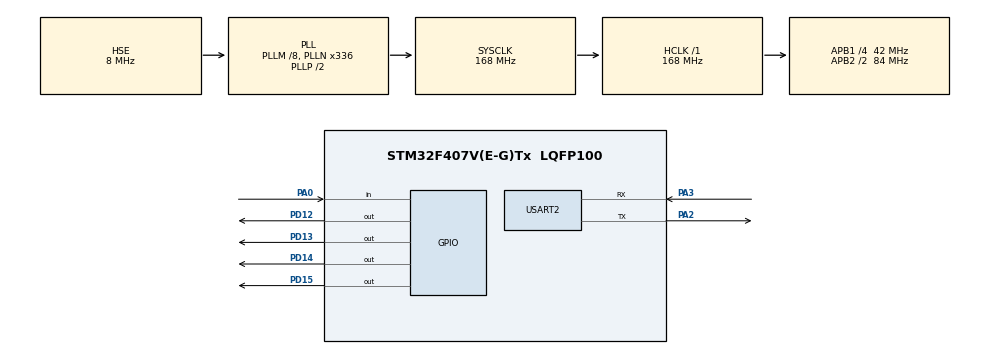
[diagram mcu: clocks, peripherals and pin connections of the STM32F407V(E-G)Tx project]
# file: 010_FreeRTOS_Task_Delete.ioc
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FREERTOS.Tasks01=defaultTask,24,128,StartDefaultTask,Default,NULL,Dynamic,NULL,NULL
FREERTOS.configUSE_NEWLIB_REENTRANT=1
Mcu.Family=STM32F4
Mcu.Name=STM32F407V(E-G)Tx
Mcu.Package=LQFP100
NVIC.PriorityGroup=NVIC_PRIORITYGROUP_4
NVIC.TIM8_TRG_COM_TIM14_IRQn=true\:15\:0\:false\:false\:true\:false\:false\:true\:true
NVIC.TimeBase=TIM8_TRG_COM_TIM14_IRQn
NVIC.TimeBaseIP=TIM14
PA0-WKUP.Signal=GPIO_Input
PA2.Mode=Asynchronous
PA2.Signal=USART2_TX
PA3.Mode=Asynchronous
PA3.Signal=USART2_RX
PD12.Signal=GPIO_Output
PD13.Signal=GPIO_Output
PD14.Signal=GPIO_Output
PD15.Signal=GPIO_Output
PH0-OSC_IN.Mode=HSE-External-Oscillator
PH0-OSC_IN.Signal=RCC_OSC_IN
PH1-OSC_OUT.Mode=HSE-External-Oscillator
PH1-OSC_OUT.Signal=RCC_OSC_OUT
ProjectManager.HeapSize=0x200
ProjectManager.StackSize=0x400
ProjectManager.TargetToolchain=STM32CubeIDE
RCC.48MHZClocksFreq_Value=48000000
RCC.AHBFreq_Value=168000000
RCC.APB1CLKDivider=RCC_HCLK_DIV4
RCC.APB1Freq_Value=42000000
RCC.APB1TimFreq_Value=84000000
RCC.APB2CLKDivider=RCC_HCLK_DIV2
RCC.APB2Freq_Value=84000000
RCC.APB2TimFreq_Value=168000000
RCC.CortexFreq_Value=168000000
RCC.HCLKFreq_Value=168000000
RCC.HSE_VALUE=8000000
RCC.HSI_VALUE=16000000
RCC.LSE_VALUE=32768
RCC.PLLM=8
RCC.PLLN=336
RCC.PLLQ=7
RCC.PLLSourceVirtual=RCC_PLLSOURCE_HSE
RCC.SYSCLKFreq_VALUE=168000000
RCC.SYSCLKSource=RCC_SYSCLKSOURCE_PLLCLK
RCC.VCOOutputFreq_Value=336000000
USART2.VirtualMode=VM_ASYNC
VP_FREERTOS_VS_CMSIS_V2.Mode=CMSIS_V2
VP_SYS_VS_tim14.Mode=TIM14
board=STM32F407G-DISC1

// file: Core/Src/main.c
/* USER CODE BEGIN Header */
/**
  ******************************************************************************
  * @file           : main.c
  * @brief          : Main program body
  ******************************************************************************
  * @attention
  *
  * Copyright (c) 2023 STMicroelectronics.
  * All rights reserved.
  *
  * This software is licensed under terms that can be found in the LICENSE file
  * in the root directory of this software component.
  * If no LICENSE file comes with this software, it is provided AS-IS.
  *
  ******************************************************************************
  */
/* USER CODE END Header */
#include "main.h"
//#include "cmsis_os.h"

/* USER CODE BEGIN Includes */
#include "FreeRTOS.h"
#include "task.h"
#include <stdio.h>
/* USER CODE END Includes */

UART_HandleTypeDef huart2;

/* Definitions for defaultTask */
//osThreadId_t defaultTaskHandle;
//const osThreadAttr_t defaultTask_attributes = {
//  .name = "defaultTask",
//  .stack_size = 128 * 4,
//  .priority = (osPriority_t) osPriorityNormal,
//};
/* USER CODE BEGIN PV */
volatile uint32_t ulIdleCycleCount = 0;
TaskHandle_t xTask2Handle = NULL;
/* USER CODE END PV */

void SystemClock_Config(void);
static void MX_GPIO_Init(void);
static void MX_USART2_UART_Init(void);
void StartDefaultTask(void *argument);

/* USER CODE BEGIN 0 */

void vTask2(void * pvParameters)
{
	for(;;)
	{
		HAL_UART_Transmit(&huart2, (uint8_t *)("Gorev 2 calisiyor\r\n"), 19, 0xFFFF);
		HAL_UART_Transmit(&huart2, (uint8_t *)("Gorev 2 kendini siliyor\r\n"), 30, 0xFFFF);
		vTaskDelete(xTask2Handle);
	}
}
void vTask1(void * pvParameters)
{
	for(;;)
	{
		HAL_UART_Transmit(&huart2, (uint8_t *)("Gorev 1 calisiyor"), 19, 0xFFFF);
		HAL_UART_Transmit(&huart2, (uint8_t *)("Gorev 2 olusturuluyor"), 30, 0xFFFF);
		xTaskCreate(vTask2, "Task 2", configMINIMAL_STACK_SIZE, NULL, 1, &xTask2Handle);
		vTaskDelay(pdMS_TO_TICKS(100UL));
	}
}

/* USER CODE END 0 */

int main(void)
{

  /* MCU Configuration--------------------------------------------------------*/

  /* Reset of all peripherals, Initializes the Flash interface and the Systick. */
  HAL_Init();

  /* Configure the system clock */
  SystemClock_Config();

  /* Initialize all configured peripherals */
  MX_GPIO_Init();
  MX_USART2_UART_Init();
  /* USER CODE BEGIN 2 */
  xTaskCreate(vTask1, "Task 1", configMINIMAL_STACK_SIZE, NULL, 1, NULL);

  vTaskStartScheduler();
  /* USER CODE END 2 */

  /* Init scheduler */
  //osKernelInitialize();

  /* Create the thread(s) */
  /* creation of defaultTask */
  //defaultTaskHandle = osThreadNew(StartDefaultTask, NULL, &defaultTask_attributes);

  /* Start scheduler */
  //osKernelStart();
  /* We should never get here as control is now taken by the scheduler */
  /* Infinite loop */
  while (1)
  {

  }
}

void SystemClock_Config(void)
{
  RCC_OscInitTypeDef RCC_OscInitStruct = {0};
  RCC_ClkInitTypeDef RCC_ClkInitStruct = {0};

  /** Configure the main internal regulator output voltage
  */
  __HAL_RCC_PWR_CLK_ENABLE();
  __HAL_PWR_VOLTAGESCALING_CONFIG(PWR_REGULATOR_VOLTAGE_SCALE1);

  /** Initializes the RCC Oscillators according to the specified parameters
  * in the RCC_OscInitTypeDef structure.
  */
  RCC_OscInitStruct.OscillatorType = RCC_OSCILLATORTYPE_HSE;
  RCC_OscInitStruct.HSEState = RCC_HSE_ON;
  RCC_OscInitStruct.PLL.PLLState = RCC_PLL_ON;
  RCC_OscInitStruct.PLL.PLLSource = RCC_PLLSOURCE_HSE;
  RCC_OscInitStruct.PLL.PLLM = 8;
  RCC_OscInitStruct.PLL.PLLN = 336;
  RCC_OscInitStruct.PLL.PLLP = RCC_PLLP_DIV2;
  RCC_OscInitStruct.PLL.PLLQ = 7;
  if (HAL_RCC_OscConfig(&RCC_OscInitStruct) != HAL_OK)
  {
    Error_Handler();
  }

  /** Initializes the CPU, AHB and APB buses clocks
  */
  RCC_ClkInitStruct.ClockType = RCC_CLOCKTYPE_HCLK|RCC_CLOCKTYPE_SYSCLK
                              |RCC_CLOCKTYPE_PCLK1|RCC_CLOCKTYPE_PCLK2;
  RCC_ClkInitStruct.SYSCLKSource = RCC_SYSCLKSOURCE_PLLCLK;
  RCC_ClkInitStruct.AHBCLKDivider = RCC_SYSCLK_DIV1;
  RCC_ClkInitStruct.APB1CLKDivider = RCC_HCLK_DIV4;
  RCC_ClkInitStruct.APB2CLKDivider = RCC_HCLK_DIV2;

  if (HAL_RCC_ClockConfig(&RCC_ClkInitStruct, FLASH_LATENCY_5) != HAL_OK)
  {
    Error_Handler();
  }
}

static void MX_USART2_UART_Init(void)
{

  huart2.Instance = USART2;
  huart2.Init.BaudRate = 115200;
  huart2.Init.WordLength = UART_WORDLENGTH_8B;
  huart2.Init.StopBits = UART_STOPBITS_1;
  huart2.Init.Parity = UART_PARITY_NONE;
  huart2.Init.Mode = UART_MODE_TX_RX;
  huart2.Init.HwFlowCtl = UART_HWCONTROL_NONE;
  huart2.Init.OverSampling = UART_OVERSAMPLING_16;
  if (HAL_UART_Init(&huart2) != HAL_OK)
  {
    Error_Handler();
  }

}

static void MX_GPIO_Init(void)
{
  GPIO_InitTypeDef GPIO_InitStruct = {0};

  /* GPIO Ports Clock Enable */
  __HAL_RCC_GPIOH_CLK_ENABLE();
  __HAL_RCC_GPIOA_CLK_ENABLE();
  __HAL_RCC_GPIOD_CLK_ENABLE();

  /*Configure GPIO pin Output Level */
  HAL_GPIO_WritePin(GPIOD, GPIO_PIN_12|GPIO_PIN_13|GPIO_PIN_14|GPIO_PIN_15, GPIO_PIN_RESET);

  /*Configure GPIO pin : PA0 */
  GPIO_InitStruct.Pin = GPIO_PIN_0;
  GPIO_InitStruct.Mode = GPIO_MODE_INPUT;
  GPIO_InitStruct.Pull = GPIO_NOPULL;
  HAL_GPIO_Init(GPIOA, &GPIO_InitStruct);

  /*Configure GPIO pins : PD12 PD13 PD14 PD15 */
  GPIO_InitStruct.Pin = GPIO_PIN_12|GPIO_PIN_13|GPIO_PIN_14|GPIO_PIN_15;
  GPIO_InitStruct.Mode = GPIO_MODE_OUTPUT_PP;
  GPIO_InitStruct.Pull = GPIO_NOPULL;
  GPIO_InitStruct.Speed = GPIO_SPEED_FREQ_LOW;
  HAL_GPIO_Init(GPIOD, &GPIO_InitStruct);

}

void StartDefaultTask(void *argument)
{
  /* USER CODE BEGIN 5 */
  /* Infinite loop */
  for(;;)
  {
    //osDelay(1);
  }
  /* USER CODE END 5 */
}

void HAL_TIM_PeriodElapsedCallback(TIM_HandleTypeDef *htim)
{
  if (htim->Instance == TIM14) {
    HAL_IncTick();
  }
}

void Error_Handler(void)
{
  __disable_irq();
  while (1)
  {
  }
}
